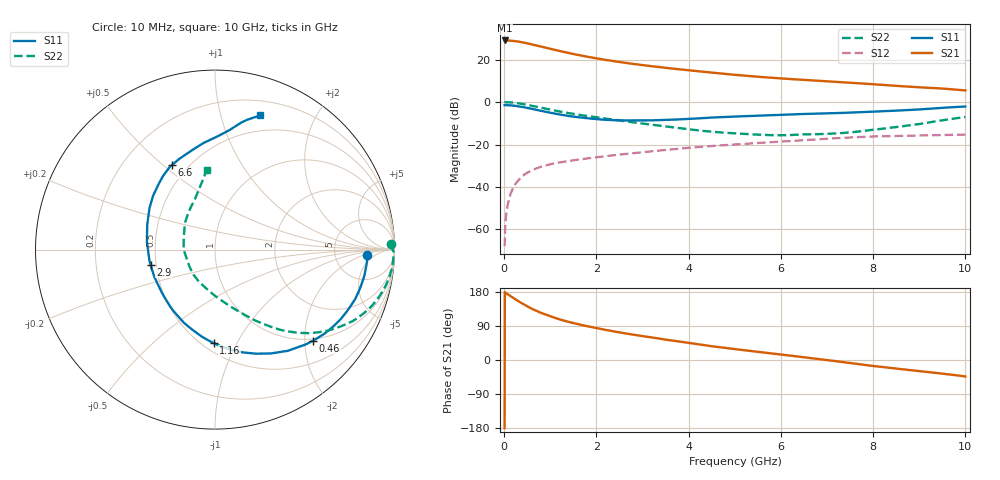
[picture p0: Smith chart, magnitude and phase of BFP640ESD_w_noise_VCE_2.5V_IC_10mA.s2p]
! Infineon Technologies  Discrete & RF Semiconductors
! BFP640ESD
! VCE =  2.5 V,  IC =  10 mA
! Common Emitter S-Parameters:  Jan 2016
# GHz  S  MA  R  50
!  f  S11  S21  S12  S22
! GHz  MAG  ANG  MAG  ANG  MAG  ANG  MAG  ANG
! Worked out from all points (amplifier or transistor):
!   233 points, 10 MHz to 10 GHz, reference 50 ohm
!   highest |S21| = 29.1 dB at 10 MHz (marker M1)
!   |S21| within 3 dB of that: start of sweep to 820.9 MHz
!   unconditionally stable (mu >= 1): 4.111 GHz to 8.917 GHz
!   at 200 MHz: K = 0.10, MSG = 34.6 dB, |S12| = -40.3 dB
!   at 1.74 GHz: K = 0.70, MSG = 24.2 dB, |S12| = -26.7 dB
!   at 10 GHz: K = 0.87, MSG = 10.4 dB, |S12| = -15.3 dB
!   lowest NFmin = 0.68 dB at 450 MHz
!   S11 on the Smith chart (normalised r, x): 10 MHz: 12, -3; 460 MHz: 0.96, -2.19; 1.16 GHz: 0.57, -0.81; 2.9 GHz: 0.47, -0.09; 6.6 GHz: 0.41, +0.53; 10 GHz: 0.34, +1.34
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0.01  0.8491 -2.1  28.46 -179.8  0.0004 175.2  0.9791 1.7
0.05  0.8492 -4.9  28.24 175.5  0.0025 86.3  0.9952 -3.0
0.1  0.8449 -9.9  28.3 171.9  0.0049 84.6  0.9912 -6.0
0.15  0.8372 -14.7  28.07 167.6  0.0073 81.5  0.983 -9.1
0.24  0.8168 -23.2  27.34 160.3  0.0115 77.3  0.9608 -14.2
0.34  0.7875 -32.5  26.39 152.8  0.0157 73.0  0.9279 -19.8
0.46  0.7457 -42.8  24.9 144.3  0.0202 68.3  0.8806 -25.7
0.6  0.6951 -54.2  23.04 135.2  0.0247 63.4  0.8201 -31.5
0.7  0.6577 -61.6  21.73 129.6  0.0275 60.6  0.779 -35.3
0.9  0.592 -75.2  19.24 119.6  0.0322 56.2  0.7013 -41.6
1.16  0.5203 -90.9  16.47 108.9  0.0371 52.4  0.6145 -48.0
1.4  0.4704 -103.9  14.38 100.4  0.041 50.1  0.5496 -52.8
1.68  0.4293 -117.3  12.48 92.3  0.0452 48.4  0.4915 -57.2
2.2  0.3831 -139.6  9.911 79.4  0.053 46.3  0.409 -64.6
2.9  0.3687 -166.9  7.7 65.0  0.0642 43.5  0.3216 -75.8
3.4  0.377 176.8  6.623 55.8  0.0727 41.0  0.2758 -85.2
4.5  0.4321 147.6  4.966 36.3  0.0922 33.9  0.2006 -115.9
5.1  0.4608 137.5  4.31 27.3  0.102 29.6  0.1807 -133.5
6.6  0.528 117.2  3.286 5.7  0.1289 18.2  0.174 178.6
6.8  0.535 114.3  3.186 2.8  0.1329 16.4  0.1755 173.5
8.4  0.6221 90.4  2.459 -21.3  0.1583 -0.4  0.2501 126.9
10  0.7886 71.4  1.888 -43.5  0.1717 -15.3  0.4453 96.0
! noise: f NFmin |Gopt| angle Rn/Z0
0.45  0.68  0.19  6  0.11
0.9  0.7  0.18  20  0.1
1.9  0.72  0.13  35  0.1
2.4  0.75  0.09  56  0.1
5.5  1.03  0.31  -133  0.1
10  1.78  0.59  -80  0.7
